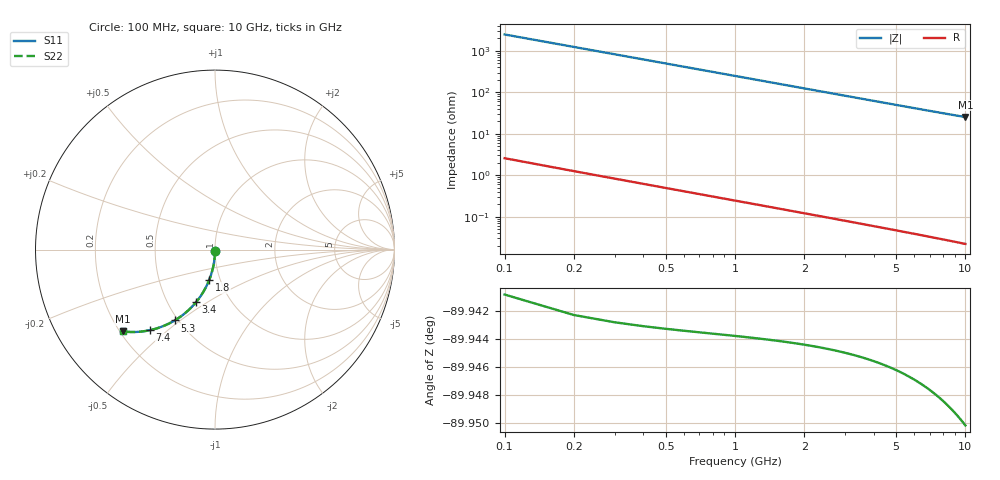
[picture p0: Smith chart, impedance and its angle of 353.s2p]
# Hz S RI R 50.00
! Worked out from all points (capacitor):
!   100 points, 100 MHz to 10 GHz, reference 50 ohm
!   read as one part in shunt: C = 640 fF near 100 MHz
!   lowest |Z| = 25.2 ohm at 10 GHz (marker M1)
!   S11 on the Smith chart (normalised r, x): 100 MHz: 1.00, -0.02; 1.8 GHz: 0.89, -0.31; 3.4 GHz: 0.69, -0.45; 5.3 GHz: 0.48, -0.48; 7.4 GHz: 0.32, -0.44; 10 GHz: 0.21, -0.36
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1e8  -2.37e-06 -0.00964  0.9998 -0.0105  0.9998 -0.0105  -2.37e-06 -0.00964
2e8  -0.000314 -0.0193  0.9995 -0.0209  0.9995 -0.0209  -0.000314 -0.0193
3e8  -0.000828 -0.0289  0.9989 -0.0314  0.9989 -0.0314  -0.000828 -0.0289
4e8  -0.00154 -0.0385  0.9982 -0.0418  0.9982 -0.0418  -0.00154 -0.0385
5e8  -0.00246 -0.0481  0.9973 -0.0523  0.9973 -0.0523  -0.00246 -0.0481
6e8  -0.00357 -0.0576  0.9962 -0.0627  0.9962 -0.0627  -0.00357 -0.0576
8e8  -0.00639 -0.0766  0.9934 -0.0833  0.9934 -0.0833  -0.00639 -0.0766
9e8  -0.0081 -0.086  0.9916 -0.0936  0.9916 -0.0936  -0.0081 -0.086
1.1e9  -0.0121 -0.1048  0.9876 -0.114  0.9876 -0.114  -0.0121 -0.1048
1.4e9  -0.0195 -0.1323  0.9802 -0.1441  0.9802 -0.1441  -0.0195 -0.1323
1.8e9  -0.0319 -0.168  0.9678 -0.1832  0.9678 -0.1832  -0.0319 -0.168
2.1e9  -0.0429 -0.1938  0.9567 -0.2115  0.9567 -0.2115  -0.0429 -0.1938
2.5e9  -0.0599 -0.2266  0.9397 -0.2477  0.9397 -0.2477  -0.0599 -0.2266
2.9e9  -0.079 -0.2575  0.9204 -0.2819  0.9204 -0.2819  -0.079 -0.2575
3.4e9  -0.1057 -0.293  0.8936 -0.3217  0.8936 -0.3217  -0.1057 -0.293
4.2e9  -0.1533 -0.3424  0.8458 -0.378  0.8458 -0.378  -0.1533 -0.3424
5.1e9  -0.2115 -0.3866  0.7873 -0.43  0.7873 -0.43  -0.2115 -0.3866
5.3e9  -0.2249 -0.3949  0.7739 -0.4399  0.7739 -0.4399  -0.2249 -0.3949
6.7e9  -0.3185 -0.4371  0.6796 -0.4944  0.6796 -0.4944  -0.3185 -0.4371
7.4e9  -0.3641 -0.4492  0.6336 -0.5128  0.6336 -0.5128  -0.3641 -0.4492
8.4e9  -0.4261 -0.458  0.571 -0.5304  0.571 -0.5304  -0.4261 -0.458
1e10  -0.5153 -0.4557  0.4806 -0.5427  0.4806 -0.5427  -0.5153 -0.4557
